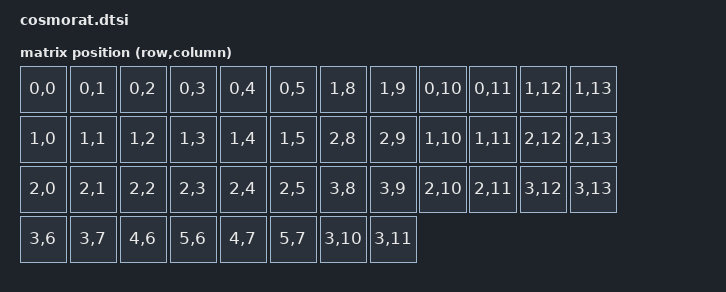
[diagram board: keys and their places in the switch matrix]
#include <dt-bindings/zmk/matrix_transform.h>

/ {
    chosen {
        zmk,kscan = &kscan0;
        zmk,split = &split;
        zmk,matrix-transform = &default_transform;
    };

    /omit-if-no-ref/ zip_temp_layer: zip_temp_layer {
        compatible = "zmk,input-processor-temp-layer";
        #input-processor-cells = <2>;
        require-prior-idle-ms = <500>;
        excluded-positions = <19 20 21 31>; // Adjust if needed for your keymap
    };

    default_transform: default_transform {
        compatible = "zmk,matrix-transform";
        columns = <14>;
        rows = <6>;
        map = <
            RC(0,0) RC(0,1) RC(0,2) RC(0,3) RC(0,4) RC(0,5)    RC(1,8) RC(1,9) RC(0,10) RC(0,11) RC(1,12) RC(1,13)
            RC(1,0) RC(1,1) RC(1,2) RC(1,3) RC(1,4) RC(1,5)    RC(2,8) RC(2,9) RC(1,10) RC(1,11) RC(2,12) RC(2,13)
            RC(2,0) RC(2,1) RC(2,2) RC(2,3) RC(2,4) RC(2,5)    RC(3,8) RC(3,9) RC(2,10) RC(2,11) RC(3,12) RC(3,13)
            RC(3,6) RC(3,7) RC(4,6) RC(5,6) RC(4,7) RC(5,7)    RC(3,10) RC(3,11)
                                            
        >;
    };

    kscan0: kscan0 {
        compatible = "zmk,kscan-gpio-matrix";
        diode-direction = "col2row";
        wakeup-source;
    };

    soft_off_wakers {
        compatible = "zmk,soft-off-wakeup-sources";
        wakeup-sources = <&kscan0>;
    };

    split: split {
        compatible = "zmk,split";
    };

    split_inputs {
        compatible = "zmk,split-inputs";
        status = "disabled";
    };

    trackball_listener: trackball_listener {
        compatible = "zmk,input-listener";
        status = "disabled";
    };
};
